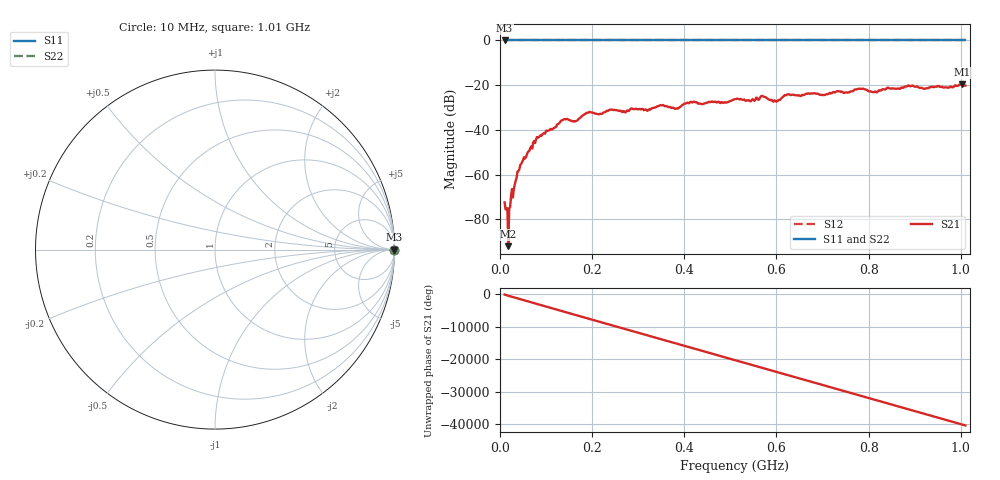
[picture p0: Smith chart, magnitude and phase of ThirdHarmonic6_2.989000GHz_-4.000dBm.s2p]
! 8/17/2025 8:30:44 AM
! C:\ANRITSUVNA\TEMP\TEMP.S2P
! CHANNEL.1
! TR.MEASUREMENT
! RAW.DATA
! RF.CORRECTION.OFF
! AVERAGING.OFF
! IF.BANDWIDTH: 5KHZ
! SWEEPTYPE:  FREQ.SWEEP(Linear)
! Reference Plane Port Info
! PORT:  PORT1  PORT2
! DISTANCE:  0  m  0  m
! TIME:  0  s  0  s
! PHASE.OFFSET:  0  deg.  0  deg.
! LOSS:  0  dB  0  dB
! REF.LOSS:  0  dB  0  dB
! REF.FREQ:  0  Hz  0  Hz
! Power Info
! POWER:  -20  dBm  -20  dBm
! EFF.POWER:  -20  dBm  -20  dBm
! SOURCE.ATTEN:  0  dB  0  dB
! TEST.ATTEN:  0  dB  0  dB
# GHZ S RI R 50.0
! FREQ.GHZ  S11RE  S11IM  S21RE  S21IM  S12RE  S12IM  S22RE  S22IM
!; PortSelection: Port_12
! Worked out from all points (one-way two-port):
!   501 points, 10 MHz to 1.01 GHz, reference 50 ohm
!   highest |S21| = -19.63 dB at 1.002 GHz (marker M1); lowest = -91.9 dB at 18 MHz (marker M2)
!   lowest |S11| = 0.0 dB at 10 MHz (marker M3)
!   |S11| at or under -10 dB: nowhere
!   |S22| runs from 0.0 to 0.0 dB; largest |S21 - S12| = 1.1
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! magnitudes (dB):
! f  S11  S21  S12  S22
! 10 MHz  0.0  -72.3  0.0  0.0
! 18 MHz  0.0  -91.9  0.0  0.0
! 42 MHz  0.0  -57.6  0.0  0.0
! 76 MHz  0.0  -45.9  0.0  0.0
! 136 MHz  0.0  -35.5  0.0  0.0
! 162 MHz  0.0  -36.3  0.0  0.0
! 178 MHz  0.0  -33.7  0.0  0.0
! 192 MHz  0.0  -32.2  0.0  0.0
! 344 MHz  0.0  -29.3  0.0  0.0
! 384 MHz  0.0  -30.4  0.0  0.0
! 416 MHz  0.0  -27.7  0.0  0.0
! 510 MHz  0.0  -26.2  0.0  0.0
! 542 MHz  0.0  -27.1  0.0  0.0
! 570 MHz  0.0  -24.9  0.0  0.0
! 598 MHz  0.0  -27.0  0.0  0.0
! 622 MHz  0.0  -24.3  0.0  0.0
! 678 MHz  0.0  -23.6  0.0  0.0
! 782 MHz  0.0  -21.6  0.0  0.0
! 814 MHz  0.0  -22.8  0.0  0.0
! 844 MHz  0.0  -21.3  0.0  0.0
! 1.002 GHz  0.0  -19.6  0.0  0.0
! 1.01 GHz  0.0  -20.2  0.0  0.0
